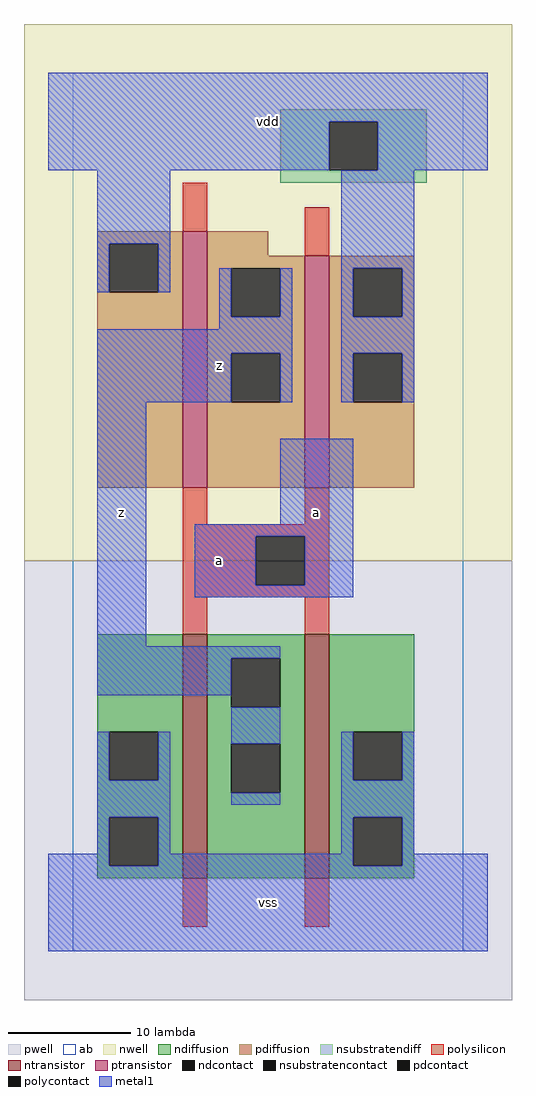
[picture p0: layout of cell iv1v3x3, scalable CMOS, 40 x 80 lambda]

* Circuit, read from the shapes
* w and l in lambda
.subckt iv1v3x3 a vdd vss z
M1 z a vss VSUBS nfet w=20 l=2 m=2
M2 z a vdd vdd pfet w=21 l=2
M3 vdd a z vdd pfet w=19 l=2
.ends

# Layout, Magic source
magic
tech scmos
<< ab >>
rect 0 0 32 72
<< pwell >>
rect -4 -4 36 32
<< nwell >>
rect -4 32 36 76
<< polysilicon >>
rect 9 59 11 63
rect 19 57 21 61
rect 9 35 11 38
rect 19 35 21 38
rect 9 34 21 35
rect 9 30 15 34
rect 19 30 21 34
rect 9 29 21 30
rect 9 26 11 29
rect 19 26 21 29
rect 9 2 11 6
rect 19 2 21 6
<< ndiffusion >>
rect 2 18 9 26
rect 2 14 3 18
rect 7 14 9 18
rect 2 11 9 14
rect 2 7 3 11
rect 7 7 9 11
rect 2 6 9 7
rect 11 24 19 26
rect 11 20 13 24
rect 17 20 19 24
rect 11 17 19 20
rect 11 13 13 17
rect 17 13 19 17
rect 11 6 19 13
rect 21 18 28 26
rect 21 14 23 18
rect 27 14 28 18
rect 21 11 28 14
rect 21 7 23 11
rect 27 7 28 11
rect 21 6 28 7
<< pdiffusion >>
rect 2 58 9 59
rect 2 54 3 58
rect 7 54 9 58
rect 2 38 9 54
rect 11 57 16 59
rect 11 56 19 57
rect 11 52 13 56
rect 17 52 19 56
rect 11 49 19 52
rect 11 45 13 49
rect 17 45 19 49
rect 11 38 19 45
rect 21 56 28 57
rect 21 52 23 56
rect 27 52 28 56
rect 21 49 28 52
rect 21 45 23 49
rect 27 45 28 49
rect 21 38 28 45
<< metal1 >>
rect -2 68 34 72
rect -2 64 21 68
rect 25 64 34 68
rect 2 58 8 64
rect 2 54 3 58
rect 7 54 8 58
rect 22 56 28 64
rect 12 52 13 56
rect 17 52 18 56
rect 12 51 18 52
rect 2 49 18 51
rect 2 45 13 49
rect 17 45 18 49
rect 22 52 23 56
rect 27 52 28 56
rect 22 49 28 52
rect 22 45 23 49
rect 27 45 28 49
rect 2 25 6 45
rect 17 35 23 42
rect 10 34 23 35
rect 10 30 15 34
rect 19 30 23 34
rect 10 29 23 30
rect 2 24 17 25
rect 2 21 13 24
rect 2 14 3 18
rect 7 14 8 18
rect 2 11 8 14
rect 13 17 17 20
rect 13 12 17 13
rect 22 14 23 18
rect 27 14 28 18
rect 2 8 3 11
rect -2 7 3 8
rect 7 8 8 11
rect 22 11 28 14
rect 22 8 23 11
rect 7 7 23 8
rect 27 8 28 11
rect 27 7 34 8
rect -2 0 34 7
<< ntransistor >>
rect 9 6 11 26
rect 19 6 21 26
<< ptransistor >>
rect 9 38 11 59
rect 19 38 21 57
<< polycontact >>
rect 15 30 19 34
<< ndcontact >>
rect 3 14 7 18
rect 3 7 7 11
rect 13 20 17 24
rect 13 13 17 17
rect 23 14 27 18
rect 23 7 27 11
<< pdcontact >>
rect 3 54 7 58
rect 13 52 17 56
rect 13 45 17 49
rect 23 52 27 56
rect 23 45 27 49
<< nsubstratencontact >>
rect 21 64 25 68
<< nsubstratendiff >>
rect 17 68 29 69
rect 17 64 21 68
rect 25 64 29 68
rect 17 63 29 64
<< labels >>
rlabel metal1 4 36 4 36 6 z
rlabel metal1 12 32 12 32 6 a
rlabel metal1 12 48 12 48 6 z
rlabel metal1 16 4 16 4 6 vss
rlabel metal1 20 36 20 36 6 a
rlabel metal1 16 68 16 68 6 vdd
<< end >>
